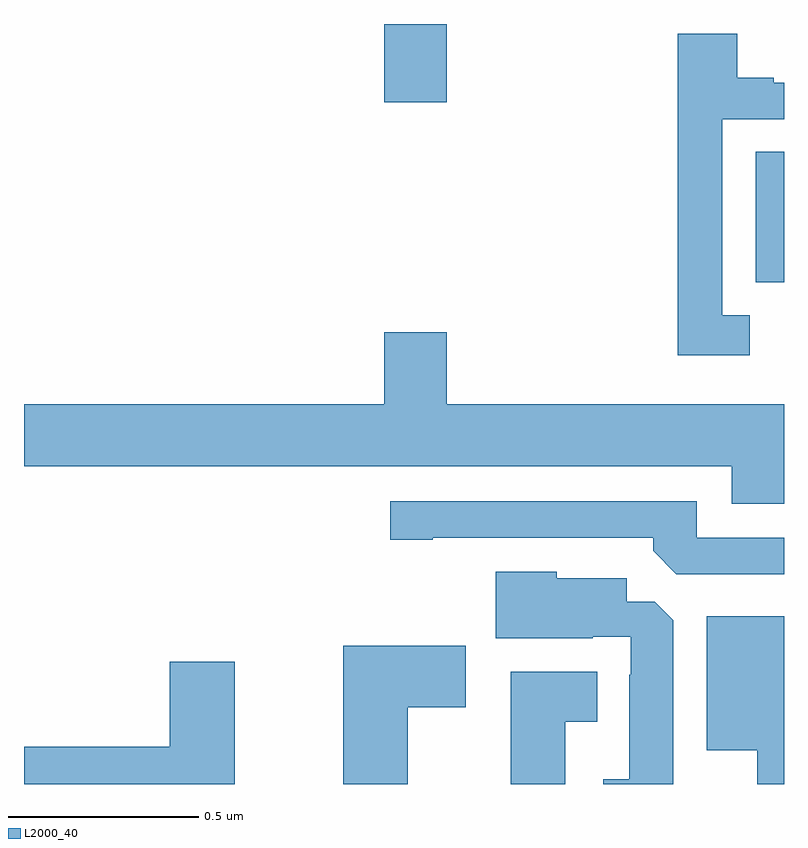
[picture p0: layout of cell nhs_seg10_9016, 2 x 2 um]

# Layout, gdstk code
import gdstk
lib = gdstk.Library(unit=1e-6, precision=1e-09)
def R(c, l, rs):  # rectangles x0, y0, x1, y1
    for r in rs: c.add(gdstk.rectangle(r[:2], r[2:], *l))
def P(c, l, *ps):  # polygons
    for p in ps: c.add(gdstk.Polygon(p, *l))
L2000_40 = (2000, 40)

nhs_seg10_9016 = lib.new_cell('nhs_seg10_9016')
R(nhs_seg10_9016, L2000_40, [(225.926,1280.821,226,1281.164), (224.948,1281.294,225.112,1281.5)])
P(nhs_seg10_9016, L2000_40, [(225.91,1280.733),(225.837,1280.733),(225.837,1281.249),(226,1281.249),(226,1281.345),(225.973,1281.345),(225.973,1281.358),(225.877,1281.358),(225.877,1281.475),(225.721,1281.475),(225.721,1280.628),(225.91,1280.628)],
  [(226,1280.5),(225.112,1280.5),(225.112,1280.689),(224.948,1280.689),(224.948,1280.5),(224,1280.5),(224,1280.336),(225.863,1280.336),(225.863,1280.237),(226,1280.237)],
  [(226,1280.148),(225.771,1280.148),(225.771,1280.244),(224.964,1280.244),(224.964,1280.143),(225.076,1280.143),(225.076,1280.148),(225.656,1280.148),(225.656,1280.114),(225.717,1280.052),(226,1280.052)],
  [(225.709,1279.931),(225.66,1279.98),(225.586,1279.98),(225.586,1280.041),(225.402,1280.041),(225.402,1280.059),(225.242,1280.059),(225.242,1279.883),(225.497,1279.883),(225.497,1279.887),(225.597,1279.887),(225.597,1279.787),(225.593,1279.787),(225.593,1279.513),(225.524,1279.513),(225.524,1279.5),(225.709,1279.5)],
  [(226,1279.942),(225.797,1279.942),(225.797,1279.589),(225.929,1279.589),(225.929,1279.5),(226,1279.5)],
  [(225.01,1279.702),(225.163,1279.702),(225.163,1279.864),(224.84,1279.864),(224.84,1279.5),(225.01,1279.5)],
  [(224.554,1279.822),(224.384,1279.822),(224.384,1279.598),(224,1279.598),(224,1279.5),(224.554,1279.5)],
  [(225.424,1279.664),(225.508,1279.664),(225.508,1279.795),(225.281,1279.795),(225.281,1279.5),(225.424,1279.5)])

lib.write_gds('nhs_seg10_9016.gds')
